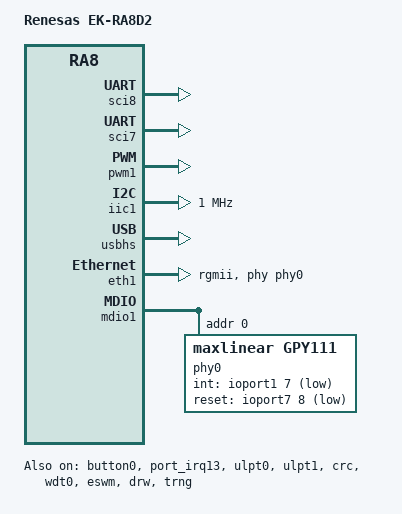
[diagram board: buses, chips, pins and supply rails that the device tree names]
/*
 * Copyright (c) 2025 Renesas Electronics Corporation
 * SPDX-License-Identifier: Apache-2.0
 */

/dts-v1/;

#include <renesas/ra/ra8/r7ka8d2kflcac_cm85.dtsi>
#include "ek_ra8d2.dtsi"
#include <zephyr/dt-bindings/pwm/pwm.h>

/ {
	model = "Renesas EK-RA8D2";
	compatible = "renesas,ra8d2", "renesas,ra8";

	chosen {
		zephyr,sram = &sram0;
		zephyr,flash = &code_mram_cm85;
		zephyr,flash-controller = &mram_ctrl;
		zephyr,code-partition = &slot0_partition;
		zephyr,console = &uart8;
		zephyr,shell-uart = &uart8;
		zephyr,crc = &crc;
		zephyr,entropy = &trng;
	};

	aliases {
		led0 = &led1;
		sw0 = &button0;
		watchdog0 = &wdt0;
	};
};

&button0 {
	status = "okay";
};

&sci8 {
	pinctrl-0 = <&sci8_default>;
	pinctrl-names = "default";
	interrupts = <0 1>, <1 1>, <2 1>, <3 1>;
	interrupt-names = "rxi", "txi", "tei", "eri";
	status = "okay";

	uart8: uart {
		current-speed = <115200>;
		status = "okay";
	};
};

&sci7 {
	pinctrl-0 = <&sci7_default>;
	pinctrl-names = "default";
	interrupts = <4 1>, <5 1>, <6 1>, <7 1>;
	interrupt-names = "rxi", "txi", "tei", "eri";
	status = "okay";

	uart7: uart {
		current-speed = <115200>;
	};
};

&spi1 {
	pinctrl-0 = <&spi1_default>;
	pinctrl-names = "default";
	interrupts = <8 1>, <9 1>, <10 1>, <11 1>;
	interrupt-names = "rxi", "txi", "tei", "eri";
};

&pwm1 {
	pinctrl-0 = <&pwm1_default>;
	interrupts = <12 1>, <13 1>;
	interrupt-names = "gtioca", "overflow";
	pinctrl-names = "default";
	status = "okay";
};

&iic1 {
	#address-cells = <1>;
	#size-cells = <0>;
	clock-frequency = <I2C_BITRATE_FAST_PLUS>;
	pinctrl-0 = <&iic1_default>;
	pinctrl-names = "default";
	interrupts = <14 1>, <15 1>, <16 1>, <17 1>;
	interrupt-names = "rxi", "txi", "tei", "eri";
};

&port_irq13 {
	interrupts = <18 1>;
	status = "okay";
};

&ulpt0 {
	interrupts = <19 1>;
	interrupt-names = "ulpti";
	status = "okay";

	timer {
		status = "okay";
	};
};

&ulpt1 {
	status = "okay";

	timer {
		status = "okay";
	};
};

&crc {
	status = "okay";
};

&wdt0 {
	status = "okay";
};

&pwm12 {
	pinctrl-0 = <&pwm12_default>;
	interrupts = <20 1>, <21 1>;
	interrupt-names = "gtioca", "overflow";
	pinctrl-names = "default";

	cam_clock: pwmclock {
		compatible = "pwm-clock";
		status = "disabled";
		#clock-cells = <1>;
		pwms = <&pwm12 0 PWM_KHZ(12000) PWM_POLARITY_NORMAL>;
	};
};

&ceu {
	pinctrl-0 = <&ceu_default>;
	pinctrl-names = "default";
	interrupts = <22 1>;
	interrupt-names = "ceui";
	clocks = <&pclka MSTPC 16>, <&cam_clock 0>;
	clock-names = "pclk", "cam-xclk";
	burst-transfer = <256>;
};

&usbhs {
	pinctrl-0 = <&usbhs_default>;
	interrupts = <23 1>;
	interrupt-names = "usbhs-ir";
	status = "okay";

	zephyr_udc0: udc {
		status = "okay";
	};
};

&code_mram_cm85 {
	partitions {
		ranges;
		#address-cells = <1>;
		#size-cells = <1>;

		boot_partition: partition@0 {
			compatible = "zephyr,mapped-partition";
			label = "mcuboot";
			reg = <0x0 DT_SIZE_K(64)>;
		};

		slot0_partition: partition@10000 {
			compatible = "zephyr,mapped-partition";
			label = "image-0";
			reg = <0x10000 DT_SIZE_K(344)>;
		};

		slot1_partition: partition@66000 {
			compatible = "zephyr,mapped-partition";
			label = "image-1";
			reg = <0x66000 DT_SIZE_K(344)>;
		};

		storage_partition: partition@bc000 {
			compatible = "zephyr,mapped-partition";
			label = "storage";
			reg = <0xbc000 DT_SIZE_K(16)>;
		};
	};
};

zephyr_lcdif: &lcdif {};

mikrobus_serial: &uart7 {};

mikrobus_i2c: &iic1 {};

mikrobus_spi: &spi1 {};

arducam_ffc_40pin_i2c: &iic1 {};

arducam_ffc_40pin_dvp_interface: &ceu {};

arducam_ffc_40pin_dvp_xclk: &cam_clock {};

&eswm {
	interrupts = <27 1>;
	interrupt-names = "gwdi";
	status = "okay";
};

&eth1 {
	phy-connection-type = "rgmii";
	local-mac-address = [74 90 50 01 02 04];
	phy-clock-type = "xtal";
	phy-handle = <&phy0>;
	pinctrl-0 = <&eth1_default>;
	pinctrl-names = "default";
	status = "okay";
};

&mdio1 {
	pinctrl-0 = <&mdio1_default>;
	pinctrl-names = "default";
	status = "okay";

	phy0: phy@0 {
		compatible = "maxlinear,gpy111";
		maxlinear,interface-type = "rgmii";
		maxlinear,rx-internal-delay = "1.5";
		reg = <0>;
		int-gpios = <&ioport1 7 GPIO_ACTIVE_LOW>;
		reset-gpios = <&ioport7 8 GPIO_ACTIVE_LOW>;
		status = "okay";
	};
};

&drw {
	interrupt-names = "drw";
	interrupts = <28 12>;
	status = "okay";
};

&trng {
	status = "okay";
};
